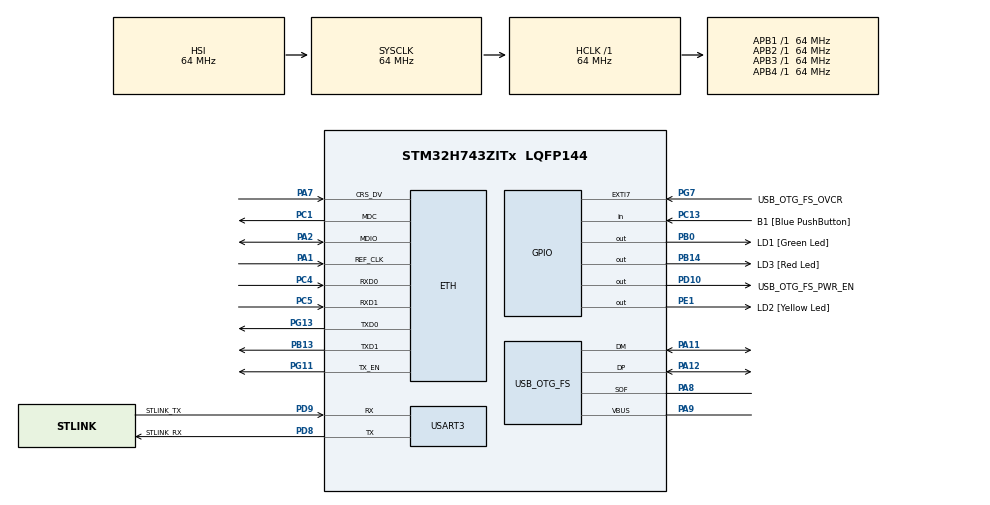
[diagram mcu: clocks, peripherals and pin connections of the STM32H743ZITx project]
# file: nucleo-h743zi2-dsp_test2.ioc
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ETH.MediaInterface=HAL_ETH_RMII_MODE
Mcu.Family=STM32H7
Mcu.Name=STM32H743ZITx
Mcu.Package=LQFP144
NVIC.PriorityGroup=NVIC_PRIORITYGROUP_4
PA1.Mode=RMII
PA1.Signal=ETH_REF_CLK
PA11.Mode=Device_Only
PA11.Signal=USB_OTG_FS_DM
PA12.Mode=Device_Only
PA12.Signal=USB_OTG_FS_DP
PA2.Mode=RMII
PA2.Signal=ETH_MDIO
PA7.Mode=RMII
PA7.Signal=ETH_CRS_DV
PA8.Mode=Activate_SOF_FS
PA8.Signal=USB_OTG_FS_SOF
PA9.Mode=Activate_VBUS
PA9.Signal=USB_OTG_FS_VBUS
PB0.GPIO_Label=LD1 [Green Led]
PB0.Signal=GPIO_Output
PB13.Mode=RMII
PB13.Signal=ETH_TXD1
PB14.GPIO_Label=LD3 [Red Led]
PB14.Signal=GPIO_Output
PC1.Mode=RMII
PC1.Signal=ETH_MDC
PC13.GPIO_Label=B1 [Blue PushButton]
PC13.Signal=GPIO_Input
PC14-OSC32_IN\ (OSC32_IN).Mode=LSE-External-Oscillator
PC14-OSC32_IN\ (OSC32_IN).Signal=RCC_OSC32_IN
PC15-OSC32_OUT\ (OSC32_OUT).Mode=LSE-External-Oscillator
PC15-OSC32_OUT\ (OSC32_OUT).Signal=RCC_OSC32_OUT
PC4.Mode=RMII
PC4.Signal=ETH_RXD0
PC5.Mode=RMII
PC5.Signal=ETH_RXD1
PD10.GPIO_Label=USB_OTG_FS_PWR_EN
PD10.Signal=GPIO_Output
PD8.GPIO_Label=STLINK_RX
PD8.Mode=Asynchronous
PD8.Signal=USART3_TX
PD9.GPIO_Label=STLINK_TX
PD9.Mode=Asynchronous
PD9.Signal=USART3_RX
PE1.GPIO_Label=LD2 [Yellow Led]
PE1.Signal=GPIO_Output
PG11.Mode=RMII
PG11.Signal=ETH_TX_EN
PG13.Mode=RMII
PG13.Signal=ETH_TXD0
PG7.GPIO_Label=USB_OTG_FS_OVCR
PG7.Signal=GPXTI7
PH0-OSC_IN\ (PH0).Mode=HSE-External-Clock-Source
PH0-OSC_IN\ (PH0).Signal=RCC_OSC_IN
PH1-OSC_OUT\ (PH1).Signal=RCC_OSC_OUT
ProjectManager.HeapSize=0x200
ProjectManager.StackSize=0x400
ProjectManager.TargetToolchain=STM32CubeIDE
RCC.ADCFreq_Value=16125000
RCC.APB1Freq_Value=64000000
RCC.APB2Freq_Value=64000000
RCC.APB3Freq_Value=64000000
RCC.APB4Freq_Value=64000000
RCC.CortexFreq_Value=64000000
RCC.DIVM1=1
RCC.DIVN1=24
RCC.DIVQ1=4
RCC.HCLKFreq_Value=64000000
RCC.HSE_VALUE=8000000
RCC.PLLFRACN=0
RCC.PWR_Regulator_Voltage_Scale=PWR_REGULATOR_VOLTAGE_SCALE2
RCC.SYSCLKFreq_VALUE=64000000
RCC.USBFreq_Value=48000000
USART3.VirtualMode-Asynchronous=VM_ASYNC
USB_OTG_FS.VirtualMode=Device_Only
board=NUCLEO-H743ZI2

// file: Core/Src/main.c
/* USER CODE BEGIN Header */
/**
  ******************************************************************************
  * @file           : main.c
  * @brief          : Main program body
  ******************************************************************************
  * @attention
  *
  * Copyright (c) 2022 STMicroelectronics.
  * All rights reserved.
  *
  * This software is licensed under terms that can be found in the LICENSE file
  * in the root directory of this software component.
  * If no LICENSE file comes with this software, it is provided AS-IS.
  *
  ******************************************************************************
  */
/* USER CODE END Header */
#include "main.h"

/* USER CODE BEGIN Includes */
#include "arm_math.h"
#include <stdio.h>
#include "string.h"
#include <time.h>	// seeding pseudo RNG
#include <stdlib.h>	// for rng

/* USER CODE END Includes */

#if defined ( __ICCARM__ ) /*!< IAR Compiler */
#pragma location=0x30000000
ETH_DMADescTypeDef  DMARxDscrTab[ETH_RX_DESC_CNT]; /* Ethernet Rx DMA Descriptors */
#pragma location=0x30000200
ETH_DMADescTypeDef  DMATxDscrTab[ETH_TX_DESC_CNT]; /* Ethernet Tx DMA Descriptors */
#pragma location=0x30000260
uint8_t Rx_Buff[ETH_RX_DESC_CNT][ETH_MAX_PACKET_SIZE]; /* Ethernet Receive Buffers */

#elif defined ( __CC_ARM )  /* MDK ARM Compiler */

__attribute__((at(0x30000000))) ETH_DMADescTypeDef  DMARxDscrTab[ETH_RX_DESC_CNT]; /* Ethernet Rx DMA Descriptors */
__attribute__((at(0x30000200))) ETH_DMADescTypeDef  DMATxDscrTab[ETH_TX_DESC_CNT]; /* Ethernet Tx DMA Descriptors */
__attribute__((at(0x30000260))) uint8_t Rx_Buff[ETH_RX_DESC_CNT][ETH_MAX_PACKET_SIZE]; /* Ethernet Receive Buffer */

#elif defined ( __GNUC__ ) /* GNU Compiler */
ETH_DMADescTypeDef DMARxDscrTab[ETH_RX_DESC_CNT] __attribute__((section(".RxDecripSection"))); /* Ethernet Rx DMA Descriptors */
ETH_DMADescTypeDef DMATxDscrTab[ETH_TX_DESC_CNT] __attribute__((section(".TxDecripSection")));   /* Ethernet Tx DMA Descriptors */
uint8_t Rx_Buff[ETH_RX_DESC_CNT][ETH_MAX_PACKET_SIZE] __attribute__((section(".RxArraySection"))); /* Ethernet Receive Buffers */
#endif

ETH_TxPacketConfig TxConfig;

ETH_HandleTypeDef heth;

UART_HandleTypeDef huart3;

PCD_HandleTypeDef hpcd_USB_OTG_FS;

void SystemClock_Config(void);
static void MX_GPIO_Init(void);
static void MX_ETH_Init(void);
static void MX_USART3_UART_Init(void);
static void MX_USB_OTG_FS_PCD_Init(void);

/* USER CODE BEGIN 0 */
#define PUTCHAR_PROTOTYPE int __io_putchar(int ch)
#define GETCHAR_PROTOTYPE int __io_getchar()

/* USER CODE END 0 */

int main(void)
{

  /* MCU Configuration--------------------------------------------------------*/

  /* Reset of all peripherals, Initializes the Flash interface and the Systick. */
  HAL_Init();

  /* Configure the system clock */
  SystemClock_Config();

  /* Initialize all configured peripherals */
  MX_GPIO_Init();
  MX_ETH_Init();
  MX_USART3_UART_Init();
  MX_USB_OTG_FS_PCD_Init();
  /* USER CODE BEGIN 2 */

  /* try out ARM dot product */
  // float32_t vectorA [] = {1,2,3};
  // float32_t vectorB [] = {1,2,3};
  // uint32_t blockSize = 3;
  float32_t result = 999;

  // seed random number
  srand(time(NULL));

  uint32_t RNG_TEST_SIZE = 50000;
  float32_t vectorA [RNG_TEST_SIZE];
  float32_t vectorB [RNG_TEST_SIZE];

  // pretty_print_float32_vector(vectorA, RNG_TEST_SIZE);
  // pretty_print_float32_vector(vectorB, RNG_TEST_SIZE);

  // uart buffer stuff
  printf("initial result: %f\n", result);
  printf("hello world\n");

  uint32_t count = 0;

  fill_vector_with_rng(vectorA, RNG_TEST_SIZE);
  fill_vector_with_rng(vectorB, RNG_TEST_SIZE);
  /* USER CODE END 2 */

  /* Infinite loop */
  /* USER CODE BEGIN WHILE */
  while (1)
  {
	  // HAL_Delay(500);

	  arm_dot_prod_f32(vectorA, vectorB, RNG_TEST_SIZE, &result);
	  // software_dot_prod_f32(vectorA, vectorB, RNG_TEST_SIZE, &result);

	  printf("count=%3ld, result: %.3f\n", count, result);
	  count++;
	  // printf("random number: %3d\n", r);
	  // r = (uint32_t) rand();

    /* USER CODE END WHILE */

  }
}

/**
 * pure software version of the float32 dot product
 * seeing if the arm_dot_prod_f32 is actually faster
 */
void software_dot_prod_f32(float32_t *vecA, float32_t *vecB, uint32_t size, float32_t *result){
	// clear result
	*result = 0;

	uint32_t i;
	for (i=0; i<size; i++){
		*result = *result + vecA[i] * vecB[i];
	}
}

/**
 * print out vector over UART
 */
void pretty_print_float32_vector(float32_t *vec, uint32_t size){
	printf("vector: ");
	uint32_t i;
	for (i=0; i<size; i++){
		printf("%.2f, ", vec[i]);
	}
	printf("\n");
}

/**
 * fill with numbers from 0.00 to 0.99
 */
void fill_vector_with_rng (float32_t *vec, uint32_t size){
	  uint32_t i = 0;
	  for (i=0; i<size; i++){
		  vec[i] = (float32_t)(rand()%100) / 100; // decimals with 2 significant figures, from 0 - 0.99
	  }
}

void SystemClock_Config(void)
{
  RCC_OscInitTypeDef RCC_OscInitStruct = {0};
  RCC_ClkInitTypeDef RCC_ClkInitStruct = {0};

  /** Supply configuration update enable
  */
  HAL_PWREx_ConfigSupply(PWR_LDO_SUPPLY);

  /** Configure the main internal regulator output voltage
  */
  __HAL_PWR_VOLTAGESCALING_CONFIG(PWR_REGULATOR_VOLTAGE_SCALE2);

  while(!__HAL_PWR_GET_FLAG(PWR_FLAG_VOSRDY)) {}

  /** Initializes the RCC Oscillators according to the specified parameters
  * in the RCC_OscInitTypeDef structure.
  */
  RCC_OscInitStruct.OscillatorType = RCC_OSCILLATORTYPE_HSI|RCC_OSCILLATORTYPE_HSE;
  RCC_OscInitStruct.HSEState = RCC_HSE_BYPASS;
  RCC_OscInitStruct.HSIState = RCC_HSI_DIV1;
  RCC_OscInitStruct.HSICalibrationValue = RCC_HSICALIBRATION_DEFAULT;
  RCC_OscInitStruct.PLL.PLLState = RCC_PLL_ON;
  RCC_OscInitStruct.PLL.PLLSource = RCC_PLLSOURCE_HSE;
  RCC_OscInitStruct.PLL.PLLM = 1;
  RCC_OscInitStruct.PLL.PLLN = 24;
  RCC_OscInitStruct.PLL.PLLP = 2;
  RCC_OscInitStruct.PLL.PLLQ = 4;
  RCC_OscInitStruct.PLL.PLLR = 2;
  RCC_OscInitStruct.PLL.PLLRGE = RCC_PLL1VCIRANGE_3;
  RCC_OscInitStruct.PLL.PLLVCOSEL = RCC_PLL1VCOWIDE;
  RCC_OscInitStruct.PLL.PLLFRACN = 0;
  if (HAL_RCC_OscConfig(&RCC_OscInitStruct) != HAL_OK)
  {
    Error_Handler();
  }

  /** Initializes the CPU, AHB and APB buses clocks
  */
  RCC_ClkInitStruct.ClockType = RCC_CLOCKTYPE_HCLK|RCC_CLOCKTYPE_SYSCLK
                              |RCC_CLOCKTYPE_PCLK1|RCC_CLOCKTYPE_PCLK2
                              |RCC_CLOCKTYPE_D3PCLK1|RCC_CLOCKTYPE_D1PCLK1;
  RCC_ClkInitStruct.SYSCLKSource = RCC_SYSCLKSOURCE_HSI;
  RCC_ClkInitStruct.SYSCLKDivider = RCC_SYSCLK_DIV1;
  RCC_ClkInitStruct.AHBCLKDivider = RCC_HCLK_DIV1;
  RCC_ClkInitStruct.APB3CLKDivider = RCC_APB3_DIV1;
  RCC_ClkInitStruct.APB1CLKDivider = RCC_APB1_DIV1;
  RCC_ClkInitStruct.APB2CLKDivider = RCC_APB2_DIV1;
  RCC_ClkInitStruct.APB4CLKDivider = RCC_APB4_DIV1;

  if (HAL_RCC_ClockConfig(&RCC_ClkInitStruct, FLASH_LATENCY_1) != HAL_OK)
  {
    Error_Handler();
  }
}

static void MX_ETH_Init(void)
{

   static uint8_t MACAddr[6];

  heth.Instance = ETH;
  MACAddr[0] = 0x00;
  MACAddr[1] = 0x80;
  MACAddr[2] = 0xE1;
  MACAddr[3] = 0x00;
  MACAddr[4] = 0x00;
  MACAddr[5] = 0x00;
  heth.Init.MACAddr = &MACAddr[0];
  heth.Init.MediaInterface = HAL_ETH_RMII_MODE;
  heth.Init.TxDesc = DMATxDscrTab;
  heth.Init.RxDesc = DMARxDscrTab;
  heth.Init.RxBuffLen = 1524;

  if (HAL_ETH_Init(&heth) != HAL_OK)
  {
    Error_Handler();
  }

  memset(&TxConfig, 0 , sizeof(ETH_TxPacketConfig));
  TxConfig.Attributes = ETH_TX_PACKETS_FEATURES_CSUM | ETH_TX_PACKETS_FEATURES_CRCPAD;
  TxConfig.ChecksumCtrl = ETH_CHECKSUM_IPHDR_PAYLOAD_INSERT_PHDR_CALC;
  TxConfig.CRCPadCtrl = ETH_CRC_PAD_INSERT;

}

static void MX_USART3_UART_Init(void)
{

  huart3.Instance = USART3;
  huart3.Init.BaudRate = 115200;
  huart3.Init.WordLength = UART_WORDLENGTH_8B;
  huart3.Init.StopBits = UART_STOPBITS_1;
  huart3.Init.Parity = UART_PARITY_NONE;
  huart3.Init.Mode = UART_MODE_TX_RX;
  huart3.Init.HwFlowCtl = UART_HWCONTROL_NONE;
  huart3.Init.OverSampling = UART_OVERSAMPLING_16;
  huart3.Init.OneBitSampling = UART_ONE_BIT_SAMPLE_DISABLE;
  huart3.Init.ClockPrescaler = UART_PRESCALER_DIV1;
  huart3.AdvancedInit.AdvFeatureInit = UART_ADVFEATURE_NO_INIT;
  if (HAL_UART_Init(&huart3) != HAL_OK)
  {
    Error_Handler();
  }
  if (HAL_UARTEx_SetTxFifoThreshold(&huart3, UART_TXFIFO_THRESHOLD_1_8) != HAL_OK)
  {
    Error_Handler();
  }
  if (HAL_UARTEx_SetRxFifoThreshold(&huart3, UART_RXFIFO_THRESHOLD_1_8) != HAL_OK)
  {
    Error_Handler();
  }
  if (HAL_UARTEx_DisableFifoMode(&huart3) != HAL_OK)
  {
    Error_Handler();
  }

}

static void MX_USB_OTG_FS_PCD_Init(void)
{

  hpcd_USB_OTG_FS.Instance = USB_OTG_FS;
  hpcd_USB_OTG_FS.Init.dev_endpoints = 9;
  hpcd_USB_OTG_FS.Init.speed = PCD_SPEED_FULL;
  hpcd_USB_OTG_FS.Init.dma_enable = DISABLE;
  hpcd_USB_OTG_FS.Init.phy_itface = PCD_PHY_EMBEDDED;
  hpcd_USB_OTG_FS.Init.Sof_enable = ENABLE;
  hpcd_USB_OTG_FS.Init.low_power_enable = DISABLE;
  hpcd_USB_OTG_FS.Init.lpm_enable = DISABLE;
  hpcd_USB_OTG_FS.Init.battery_charging_enable = ENABLE;
  hpcd_USB_OTG_FS.Init.vbus_sensing_enable = ENABLE;
  hpcd_USB_OTG_FS.Init.use_dedicated_ep1 = DISABLE;
  if (HAL_PCD_Init(&hpcd_USB_OTG_FS) != HAL_OK)
  {
    Error_Handler();
  }

}

static void MX_GPIO_Init(void)
{
  GPIO_InitTypeDef GPIO_InitStruct = {0};

  /* GPIO Ports Clock Enable */
  __HAL_RCC_GPIOC_CLK_ENABLE();
  __HAL_RCC_GPIOH_CLK_ENABLE();
  __HAL_RCC_GPIOA_CLK_ENABLE();
  __HAL_RCC_GPIOB_CLK_ENABLE();
  __HAL_RCC_GPIOD_CLK_ENABLE();
  __HAL_RCC_GPIOG_CLK_ENABLE();
  __HAL_RCC_GPIOE_CLK_ENABLE();

  /*Configure GPIO pin Output Level */
  HAL_GPIO_WritePin(GPIOB, LD1_Pin|LD3_Pin, GPIO_PIN_RESET);

  /*Configure GPIO pin Output Level */
  HAL_GPIO_WritePin(USB_OTG_FS_PWR_EN_GPIO_Port, USB_OTG_FS_PWR_EN_Pin, GPIO_PIN_RESET);

  /*Configure GPIO pin Output Level */
  HAL_GPIO_WritePin(LD2_GPIO_Port, LD2_Pin, GPIO_PIN_RESET);

  /*Configure GPIO pin : B1_Pin */
  GPIO_InitStruct.Pin = B1_Pin;
  GPIO_InitStruct.Mode = GPIO_MODE_INPUT;
  GPIO_InitStruct.Pull = GPIO_NOPULL;
  HAL_GPIO_Init(B1_GPIO_Port, &GPIO_InitStruct);

  /*Configure GPIO pins : LD1_Pin LD3_Pin */
  GPIO_InitStruct.Pin = LD1_Pin|LD3_Pin;
  GPIO_InitStruct.Mode = GPIO_MODE_OUTPUT_PP;
  GPIO_InitStruct.Pull = GPIO_NOPULL;
  GPIO_InitStruct.Speed = GPIO_SPEED_FREQ_LOW;
  HAL_GPIO_Init(GPIOB, &GPIO_InitStruct);

  /*Configure GPIO pin : USB_OTG_FS_PWR_EN_Pin */
  GPIO_InitStruct.Pin = USB_OTG_FS_PWR_EN_Pin;
  GPIO_InitStruct.Mode = GPIO_MODE_OUTPUT_PP;
  GPIO_InitStruct.Pull = GPIO_NOPULL;
  GPIO_InitStruct.Speed = GPIO_SPEED_FREQ_LOW;
  HAL_GPIO_Init(USB_OTG_FS_PWR_EN_GPIO_Port, &GPIO_InitStruct);

  /*Configure GPIO pin : USB_OTG_FS_OVCR_Pin */
  GPIO_InitStruct.Pin = USB_OTG_FS_OVCR_Pin;
  GPIO_InitStruct.Mode = GPIO_MODE_IT_RISING;
  GPIO_InitStruct.Pull = GPIO_NOPULL;
  HAL_GPIO_Init(USB_OTG_FS_OVCR_GPIO_Port, &GPIO_InitStruct);

  /*Configure GPIO pin : LD2_Pin */
  GPIO_InitStruct.Pin = LD2_Pin;
  GPIO_InitStruct.Mode = GPIO_MODE_OUTPUT_PP;
  GPIO_InitStruct.Pull = GPIO_NOPULL;
  GPIO_InitStruct.Speed = GPIO_SPEED_FREQ_LOW;
  HAL_GPIO_Init(LD2_GPIO_Port, &GPIO_InitStruct);

}

/* USER CODE BEGIN 4 */
// ==================== uart => printf substitute =====================

/**
  * @brief  Retargets the C library printf and scanf functions to the UART.
  * @param  None
  * @retval None
  */

PUTCHAR_PROTOTYPE
{
  /* Place your implementation of fputc here */
  /* e.g. write a character to the LPUART1 and Loop until the end of transmission */
  HAL_UART_Transmit(&huart3, (uint8_t *)&ch, 1, 0xFFFF);

  return ch;
}

GETCHAR_PROTOTYPE
{
	uint8_t ch;

	HAL_UART_Receive(&huart3, &ch, 1, 0xFFFF);

	return ch;
}

/* USER CODE END 4 */

void Error_Handler(void)
{
  __disable_irq();
  while (1)
  {
  }
}
